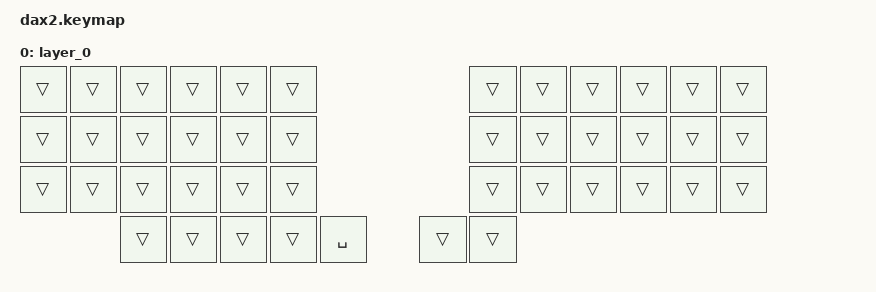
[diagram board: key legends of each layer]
#include <behaviors.dtsi>
#include <dt-bindings/zmk/keys.h>
#include <dt-bindings/zmk/pointing.h>

#define MOUSE 4
#define SCROLL 5
#define NUM 6

&mt {
    quick-tap-ms = <0>;
    tapping-term-ms = <160>;
    flavor = "balanced";
};

&lt {
    flavor = "balanced";
    tapping-term-ms = <160>;
    quick-tap-ms = <0>;
};

/ {
    combos {
        compatible = "zmk,combos";

        to_bluetooth {
            bindings = <&mo 0>;
            key-positions = <0 29>;
        };

        mouse_back {
            bindings = <&mkp MB4>;
            key-positions = <19 20>;
        };

        mouse_forward {
            bindings = <&mkp MB5>;
            key-positions = <20 21>;
        };
    };

    macros {
        esc_lang2: esc_lang2 {
            compatible = "zmk,behavior-macro";
            #binding-cells = <0>;
            bindings = <&macro_tap>, <&kp ESCAPE &kp LANG2>;

            label = "ESC_LANG2";
        };
    };

    behaviors {
        esc_lang2_with_layer: esc_lang2_with_layer {
            compatible = "zmk,behavior-hold-tap";
            label = "ESC_LANG2_WITH_LAYER";
            bindings = <&mo>, <&esc_lang2>;

            #binding-cells = <2>;
            tapping-term-ms = <160>;
            flavor = "balanced";
        };
    };

    keymap {
        compatible = "zmk,keymap";

        layer_0 {
            bindings = <
&trans  &trans  &trans  &trans  &trans  &trans     &trans  &trans  &trans  &trans  &trans  &trans
&trans  &trans  &trans  &trans  &trans  &trans     &trans  &trans  &trans  &trans  &trans  &trans
&trans  &trans  &trans  &trans  &trans  &trans     &trans  &trans  &trans  &trans  &trans  &trans
        &trans  &trans  &trans  &trans  &kp SPACE  &trans  &trans
            >;
        };
    };
};
